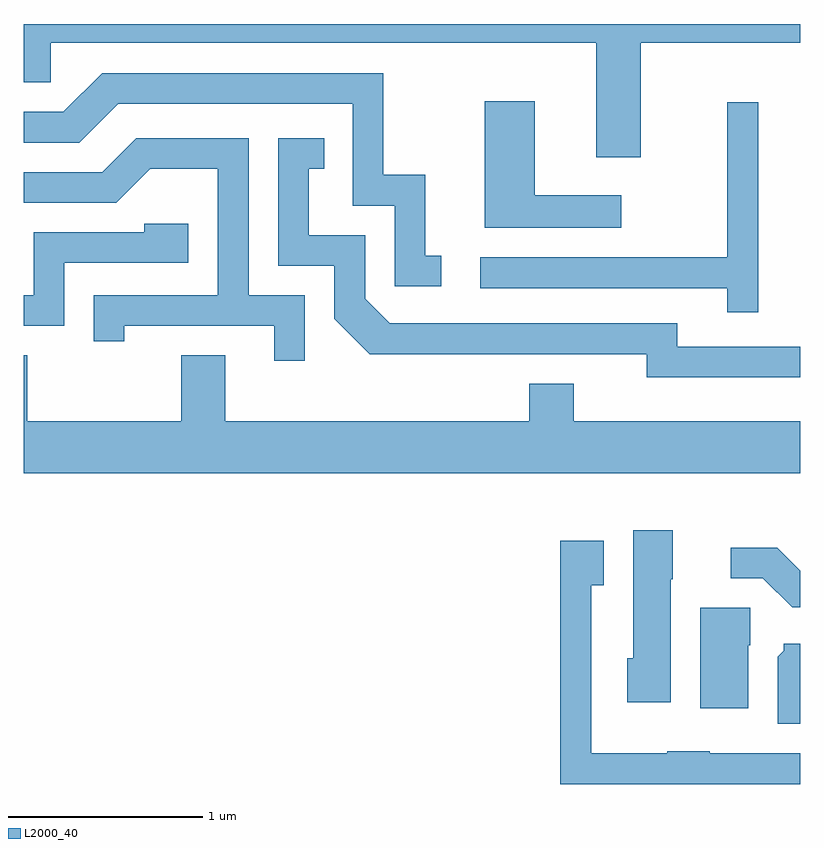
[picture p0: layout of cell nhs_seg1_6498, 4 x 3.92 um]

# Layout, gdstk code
import gdstk
lib = gdstk.Library(unit=1e-6, precision=1e-09)
def P(c, l, *ps):  # polygons
    for p in ps: c.add(gdstk.Polygon(p, *l))
L2000_40 = (2000, 40)

nhs_seg1_6498 = lib.new_cell('nhs_seg1_6498')
P(nhs_seg1_6498, L2000_40, [(384.789,859.616),(385.611,859.616),(385.611,859.712),(381.611,859.712),(381.611,859.411),(381.749,859.411),(381.749,859.616),(384.561,859.616),(384.561,859.026),(384.789,859.026)],
  [(383.763,858.519),(383.679,858.519),(383.679,858.934),(383.464,858.934),(383.464,859.459),(382.014,859.459),(381.814,859.259),(381.611,859.259),(381.611,859.101),(381.897,859.101),(382.097,859.301),(383.306,859.301),(383.306,858.776),(383.521,858.776),(383.521,858.361),(383.763,858.361)],
  [(384.688,858.829),(384.244,858.829),(384.244,859.314),(383.986,859.314),(383.986,858.661),(384.688,858.661)],
  [(385.394,859.308),(385.236,859.308),(385.236,858.509),(383.963,858.509),(383.963,858.351),(385.236,858.351),(385.236,858.228),(385.394,858.228)],
  [(385.611,858.049),(384.979,858.049),(384.979,858.169),(383.497,858.169),(383.369,858.297),(383.369,858.624),(383.079,858.624),(383.079,858.966),(383.158,858.966),(383.158,859.124),(382.921,859.124),(382.921,858.466),(383.211,858.466),(383.211,858.194),(383.394,858.011),(384.821,858.011),(384.821,857.891),(385.611,857.891)],
  [(383.059,858.314),(382.769,858.314),(382.769,859.124),(382.189,859.124),(382.014,858.949),(381.611,858.949),(381.611,858.791),(382.087,858.791),(382.262,858.966),(382.611,858.966),(382.611,858.314),(381.971,858.314),(381.971,858.078),(382.129,858.078),(382.129,858.156),(382.901,858.156),(382.901,857.978),(383.059,857.978)],
  [(381.819,858.481),(382.459,858.481),(382.459,858.684),(382.231,858.684),(382.231,858.639),(381.661,858.639),(381.661,858.314),(381.611,858.314),(381.611,858.156),(381.819,858.156)],
  [(385.611,857.664),(384.444,857.664),(384.444,857.859),(384.216,857.859),(384.216,857.664),(382.649,857.664),(382.649,858.004),(382.421,858.004),(382.421,857.664),(381.629,857.664),(381.629,858.004),(381.611,858.004),(381.611,857.396),(385.611,857.396)],
  [(384.944,856.85),(384.954,856.85),(384.954,857.104),(384.751,857.104),(384.751,856.444),(384.721,856.444),(384.721,856.216),(384.944,856.216)],
  [(385.611,855.954),(385.145,855.954),(385.145,855.964),(384.925,855.964),(384.925,855.954),(384.534,855.954),(384.534,856.821),(384.599,856.821),(384.599,857.049),(384.376,857.049),(384.376,855.796),(385.611,855.796)],
  [(385.611,856.895),(385.492,857.014),(385.253,857.014),(385.253,856.856),(385.419,856.856),(385.569,856.706),(385.611,856.706)],
  [(385.344,856.51),(385.354,856.51),(385.354,856.704),(385.096,856.704),(385.096,856.186),(385.344,856.186)],
  [(385.611,856.519),(385.526,856.519),(385.526,856.482),(385.496,856.452),(385.496,856.106),(385.611,856.106)])

lib.write_gds('nhs_seg1_6498.gds')
